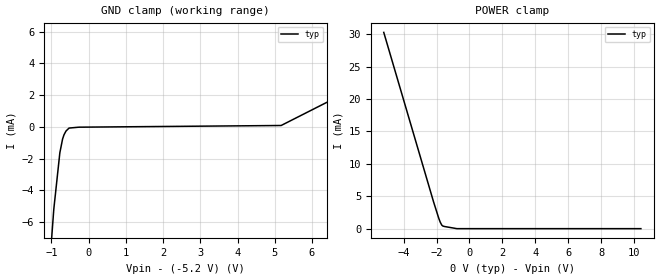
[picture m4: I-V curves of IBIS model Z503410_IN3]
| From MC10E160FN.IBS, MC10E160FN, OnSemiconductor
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| (C) COPYRIGHT 1993-2000
| MENTOR GRAPHICS CORPORATION
| ICX STANDARD LIBRARY, ICX PROJECT MODELING,
| ICX CUSTOM MODELING, ICX VENDOR MODEL
| ALL RIGHTS RESERVED.
| THE FOLLOWING ARE TRADEMARKS OR SERVICE MARKS OF
| MENTOR GRAPHICS CORPORATION:ICX (R), ICX STANDARD
| LIBRARY(R), ICX PROJECT MODELING(R), ICX CUSTOM
| MODELING(R), qualityIBIS(TM), MODELVIEWER(TM),
| AND MODELEDITOR(TM)
| ALL COPIES OF SOFTWARE, INCLUDING BUT NOT LIMITED TO
| ANY MODIFICATIONS, ENHANCEMENTS OR DERIVATIVE WORKS,
| MUST CONTAIN ALL MENTOR GRAPHICS CORPORATION'S
| NOTICES AND LEGENDS, INCLUDING THOSE EMBEDDED IN
| SOFTWARE AND THOSE AFFIXED TO SOFTWARE MEDIUM
| AND CONTAINER, AS RECEIVED FROM MENTOR GRAPHICS
| CORPORATION.
| Model Application Version 1.89 2/18/99.
[Model] Z503410_IN3
Model_type Input_ECL
Vinl = -1.480V
Vinh = -1.130V
C_comp 4.000pF NA NA
| variable typ   min   max
[Voltage Range] -5.200V NA NA
[GND Clamp Reference] -5.200V NA NA
[POWER Clamp Reference] 0.000V NA NA
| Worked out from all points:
|   GND clamp passes 1 mA (typ) near -0.72 V on its own axis
|   POWER clamp passes 1 mA (typ) near -1.77 V on its own axis
[GND Clamp]
-5.2V     -185.4mA   NA         NA
-1.104V   -10.46mA   NA         NA
-938mV    -5.195mA   NA         NA
-775mV    -1.631mA   NA         NA
-701mV    -759.1uA   NA         NA
-664mV    -502uA     NA         NA
-609mV    -260.7uA   NA         NA
-527mV    -75.52uA   NA         NA
-263.5mV  -19.65uA   NA         NA
5.171V    86.47uA    NA         NA
10.4V     6.293mA    NA         NA
[POWER Clamp]
-5.2V     30.26mA    NA         NA
-2.177V   4.118mA    NA         NA
-1.865V   1.615mA    NA         NA
-1.774V   1mA        NA         NA
-1.68V    547.9uA    NA         NA
-1.621V   413.9uA    NA         NA
-1.523V   335.2uA    NA         NA
-761.5mV  0A         NA         NA
10.4V     0A         NA         NA
